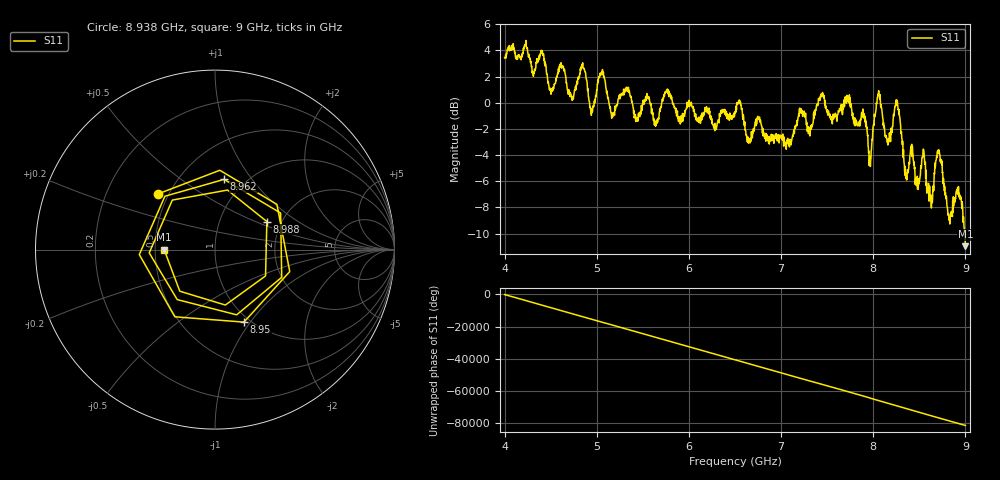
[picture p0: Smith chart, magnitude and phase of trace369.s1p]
! Created with skrf 1.8.0 (http://scikit-rf.org).
# Hz S RI R 50.0
!freq ReS11 ImS11
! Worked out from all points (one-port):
!   1601 points, 4 GHz to 9 GHz, reference 50 ohm
!   lowest |S11| = -11.0 dB at 9 GHz (marker M1), VSWR 1.79, Z = 27.9 - j0.0708 ohm
!   |S11| at or under -10 dB: 8.992158 GHz to end of sweep
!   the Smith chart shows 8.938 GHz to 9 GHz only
!   S11 on the Smith chart (normalised r, x): 8.938 GHz: 0.44, +0.34; 8.95 GHz: 0.94, -0.93; 8.962 GHz: 0.80, +0.74; 8.988 GHz: 1.68, +0.59; 9 GHz: 0.56, -0.00
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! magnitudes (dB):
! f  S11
! 4 GHz  3.4
! 4.406 GHz  3.9
! 4.509 GHz  0.8
! 4.625 GHz  2.7
! 4.728 GHz  0.5
! 4.853 GHz  2.6
! 4.944 GHz  -0.4
! 5.047 GHz  2.1
! 5.169 GHz  -0.9
! 5.25 GHz  0.3
! 5.875 GHz  -0.6
! 6.5 GHz  -0.7
! 7.125 GHz  -2.5
! 7.75 GHz  0.4
! 7.966 GHz  -4.2
! 8.053 GHz  0.7
! 8.153 GHz  -3.0
! 8.256 GHz  0.2
! 8.375 GHz  -5.2
! 8.541 GHz  -3.6
! 8.628 GHz  -7.6
! 8.712 GHz  -3.6
! 8.825 GHz  -8.8
! 8.938 GHz  -7.0
! 8.95 GHz  -7.2
! 8.962 GHz  -8.1
! 8.988 GHz  -9.7
! 9 GHz  -11.0
